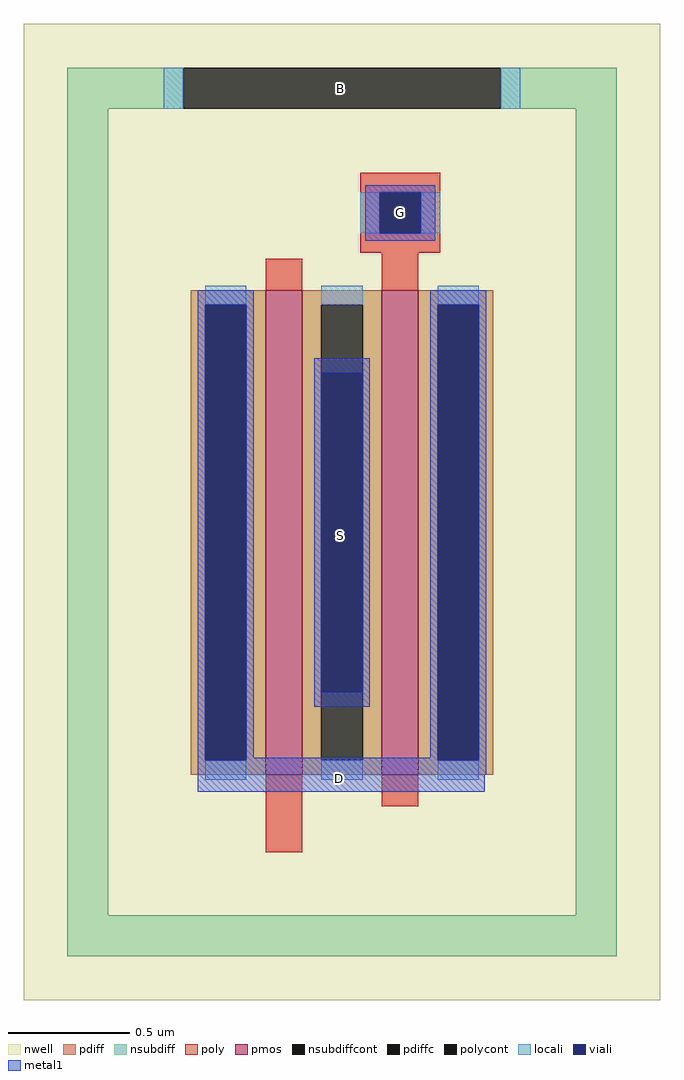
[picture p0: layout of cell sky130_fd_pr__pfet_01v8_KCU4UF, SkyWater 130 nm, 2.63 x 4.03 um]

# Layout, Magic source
magic
tech sky130A
magscale 1 2
<< nwell >>
rect -263 -403 263 403
<< pmos >>
rect -63 -217 -33 183
rect 33 -217 63 183
<< pdiff >>
rect -125 171 -63 183
rect -125 -205 -113 171
rect -79 -205 -63 171
rect -125 -217 -63 -205
rect -33 171 33 183
rect -33 -205 -17 171
rect 17 -205 33 171
rect -33 -217 33 -205
rect 63 171 125 183
rect 63 -205 79 171
rect 113 -205 125 171
rect 63 -217 125 -205
<< pdiffc >>
rect -113 -205 -79 171
rect -17 -205 17 171
rect 79 -205 113 171
<< nsubdiff >>
rect -227 333 -131 367
rect 131 333 227 367
rect -227 -333 -193 333
rect 193 -333 227 333
rect -227 -367 227 -333
<< nsubdiffcont >>
rect -131 333 131 367
<< poly >>
rect 15 264 81 280
rect 15 230 31 264
rect 65 230 81 264
rect 15 214 81 230
rect -63 183 -33 209
rect 33 183 63 214
rect -63 -281 -33 -217
rect 33 -243 63 -217
<< polycont >>
rect 31 230 65 264
<< locali >>
rect -147 333 -131 367
rect 131 333 147 367
rect 15 230 31 264
rect 65 230 81 264
rect -113 171 -79 187
rect -113 -221 -79 -205
rect -17 171 17 187
rect -17 -221 17 -205
rect 79 171 113 187
rect 79 -221 113 -205
<< viali >>
rect 31 230 65 264
rect -113 -205 -79 171
rect -17 -149 17 115
rect 79 -205 113 171
<< metal1 >>
rect 19 264 77 270
rect 19 230 31 264
rect 65 230 77 264
rect 19 224 77 230
rect -119 171 -73 183
rect -119 -205 -113 171
rect -79 -203 -73 171
rect 73 171 119 183
rect -23 115 23 127
rect -23 -149 -17 115
rect 17 -149 23 115
rect -23 -161 23 -149
rect 73 -203 79 171
rect -79 -205 79 -203
rect 113 -205 119 171
rect -119 -217 119 -205
rect -119 -231 118 -217
<< labels >>
flabel metal1 s -2 -220 -2 -220 0 FreeSans 320 0 0 0 D
port 0 nsew
flabel metal1 s -1 -19 -1 -19 0 FreeSans 320 0 0 0 S
port 1 nsew
flabel metal1 s 48 247 48 247 0 FreeSans 320 0 0 0 G
port 2 nsew
flabel locali s -1 350 -1 350 0 FreeSans 320 0 0 0 B
port 3 nsew
<< end >>
